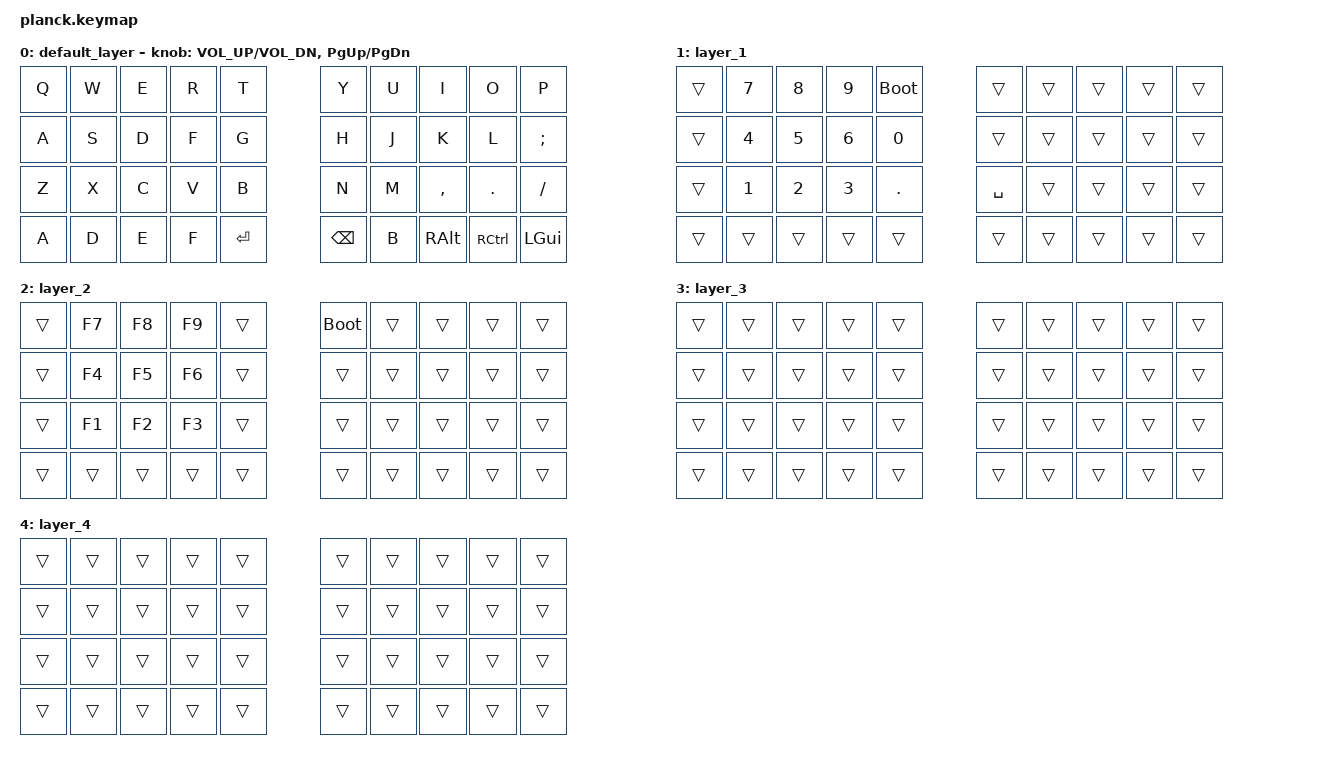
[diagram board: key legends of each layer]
#include <behaviors/toggle_io.dtsi> // for toggle behavior
#include <behaviors/on_io.dtsi> // for on behavior
#include <behaviors/off_io.dtsi> // for off behavior
#include <behaviors.dtsi>
#include <dt-bindings/zmk/keys.h>

// / {
//     chosen {
//         zmk,physical-layout = &matrix_physical_layout;
//     };
// };

/ {
    keymap {
        compatible = "zmk,keymap";

        default_layer {
            // --------------------------------------------------------------------------------------------------------------------------------------------------------------------
            // |   ESC   |    Q    |    W    |    E    |    R    |    T    |                                          |    Y    |    U    |    I    |    O    |    P    |    \    |
            // |   TAB   |    A    |    S    |    D    |    F    |    G    |                                          |    H    |    J    |    K    |    L    |    ;    |    '    |
            // |  SHIFT  |    Z    |    X    |    C    |    V    |    B    | CTRL+A  | CTRL+C  |  |  CTRL+V |  CTRL+X |    N    |    M    |    ,    |    .    |    /    |  R CTRL |
            //                               |   GUI   |   DEL   | RETURN  |  SPACE  | ESCAPE  |  |  RETURN |  SPACE  |   TAB   |   BSPC  |  R ALT  |

            bindings = <
&kp Q  &kp W  &kp E  &kp R  &kp T          &kp Y          &kp U  &kp I      &kp O      &kp P
&kp A  &kp S  &kp D  &kp F  &kp G          &kp H          &kp J  &kp K      &kp L      &kp SEMI
&kp Z  &kp X  &kp C  &kp V  &kp B          &kp N          &kp M  &kp COMMA  &kp DOT    &kp FSLH
&kp A  &kp D  &kp E  &kp F  &kp ENTER      &kp BACKSPACE  &kp B  &kp RALT   &kp RCTRL  &kp LGUI
            >;

            sensor-bindings = <&inc_dec_kp C_VOL_UP C_VOL_DN &inc_dec_kp PG_UP PG_DN>;
        };

        layer_1 {
            bindings = <
&trans  &kp N7  &kp N8  &kp N9  &bootloader      &trans     &trans  &trans  &trans  &trans
&trans  &kp N4  &kp N5  &kp N6  &kp N0           &trans     &trans  &trans  &trans  &trans
&trans  &kp N1  &kp N2  &kp N3  &kp DOT          &kp SPACE  &trans  &trans  &trans  &trans
&trans  &trans  &trans  &trans  &trans           &trans     &trans  &trans  &trans  &trans
            >;
        };

        layer_2 {
            bindings = <
&trans  &kp F7  &kp F8  &kp F9  &trans      &bootloader  &trans  &trans  &trans  &trans
&trans  &kp F4  &kp F5  &kp F6  &trans      &trans       &trans  &trans  &trans  &trans
&trans  &kp F1  &kp F2  &kp F3  &trans      &trans       &trans  &trans  &trans  &trans
&trans  &trans  &trans  &trans  &trans      &trans       &trans  &trans  &trans  &trans
            >;
        };

        layer_3 {
            bindings = <
&trans  &trans  &trans  &trans  &trans      &trans  &trans  &trans  &trans  &trans
&trans  &trans  &trans  &trans  &trans      &trans  &trans  &trans  &trans  &trans
&trans  &trans  &trans  &trans  &trans      &trans  &trans  &trans  &trans  &trans
&trans  &trans  &trans  &trans  &trans      &trans  &trans  &trans  &trans  &trans
            >;
        };

        layer_4 {
            bindings = <
&trans  &trans  &trans  &trans  &trans      &trans  &trans  &trans  &trans  &trans
&trans  &trans  &trans  &trans  &trans      &trans  &trans  &trans  &trans  &trans
&trans  &trans  &trans  &trans  &trans      &trans  &trans  &trans  &trans  &trans
&trans  &trans  &trans  &trans  &trans      &trans  &trans  &trans  &trans  &trans
            >;
        };
    };
};
